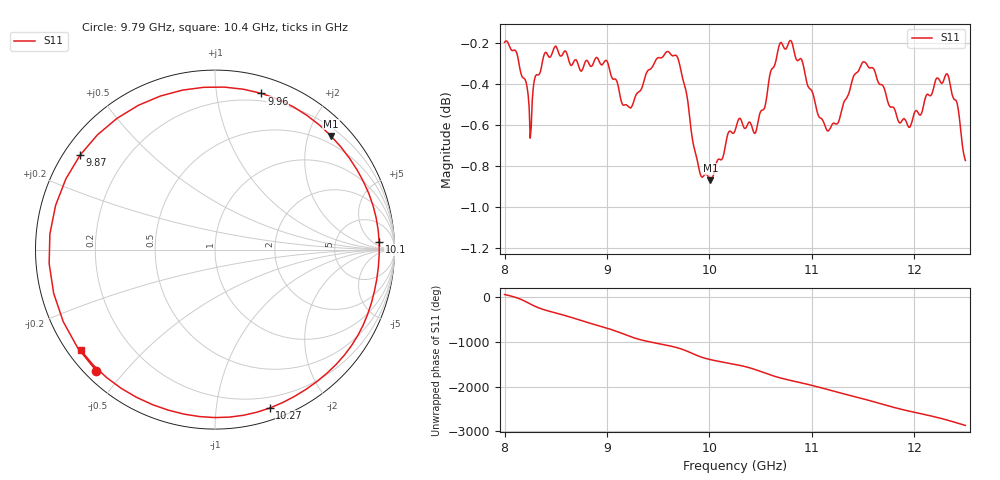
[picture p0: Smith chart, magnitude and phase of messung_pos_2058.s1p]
#  HZ  S  RI  R  50.00
! Rohde & Schwarz Vector Network Analyzer
! Rohde-Schwarz,ZNA43-4Port,1332450044101932,2.92
! Created: UTC 6/1/2026, 11:34:32 AM
! freq[Hz]  re:S11  im:S11
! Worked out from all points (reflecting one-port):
!   451 points, 8 GHz to 12.5 GHz, reference 50 ohm
!   lowest |S11| = -0.9 dB at 10.01 GHz (marker M1), VSWR 20.00, Z = 17.3 + j120 ohm
!   phase of S11 starts at 58 deg and turns -2923 deg over the sweep
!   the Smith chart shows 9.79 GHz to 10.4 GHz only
!   S11 on the Smith chart (normalised r, x): 9.79 GHz: 0.03, -0.42; 9.87 GHz: 0.05, +0.31; 9.96 GHz: 0.13, +1.33; 10.1 GHz: 18, +9; 10.27 GHz: 0.10, -1.40; 10.4 GHz: 0.04, -0.33
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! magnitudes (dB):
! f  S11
! 8 GHz  -0.2
! 8.12 GHz  -0.3
! 8.25 GHz  -0.7
! 8.39 GHz  -0.3
! 8.57 GHz  -0.3
! 8.99 GHz  -0.3
! 9.13 GHz  -0.5
! 9.23 GHz  -0.5
! 9.49 GHz  -0.3
! 9.69 GHz  -0.3
! 9.79 GHz  -0.5
! 9.87 GHz  -0.7
! 9.96 GHz  -0.8
! 10.01 GHz  -0.9
! 10.1 GHz  -0.8
! 10.25 GHz  -0.6
! 10.27 GHz  -0.6
! 10.4 GHz  -0.6
! 10.46 GHz  -0.6
! 10.69 GHz  -0.2
! 10.82 GHz  -0.2
! 11.15 GHz  -0.6
! 11.38 GHz  -0.4
! 11.52 GHz  -0.3
! 11.94 GHz  -0.6
! 12.32 GHz  -0.4
! 12.42 GHz  -0.5
! 12.5 GHz  -0.8
